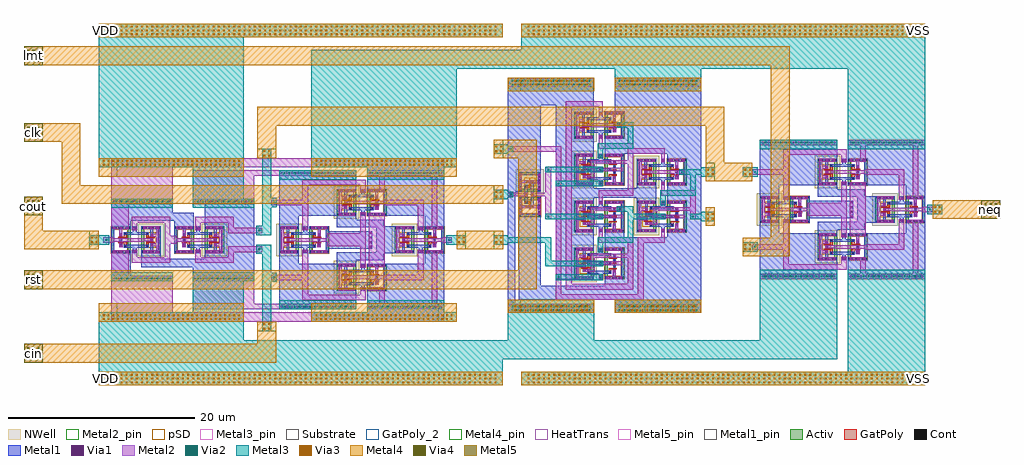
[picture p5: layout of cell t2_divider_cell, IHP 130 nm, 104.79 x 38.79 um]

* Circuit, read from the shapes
.subckt t2_divider_cell VDD VSS cin clk cout lmt neq rst
XM1 n1 t2_ha_2/t2_and2_0/t2_nand2_1/inA cout VSS sg13_lv_nmos w=0.15u l=0.13u
XM2 VSS t2_ha_2/t2_and2_0/t2_nand2_1/inA n1 VSS sg13_lv_nmos w=0.15u l=0.13u
XM3 n2 cin t2_ha_2/t2_and2_0/t2_nand2_1/inA VSS sg13_lv_nmos w=0.15u l=0.13u
XM4 VSS t2_dff_1/Q n2 VSS sg13_lv_nmos w=0.15u l=0.13u
XM5 n3 cin t2_ha_2/t2_xor2_1/t2_nand2_0/inA VSS sg13_lv_nmos w=0.15u l=0.13u
XM6 VSS t2_dff_1/Q n3 VSS sg13_lv_nmos w=0.15u l=0.13u
XM7 n4 cin t2_ha_2/t2_xor2_1/t2_nand2_2/inB VSS sg13_lv_nmos w=0.15u l=0.13u
XM8 VSS t2_ha_2/t2_xor2_1/t2_nand2_0/inA n4 VSS sg13_lv_nmos w=0.15u l=0.13u
XM9 n5 t2_ha_2/t2_xor2_1/t2_nand2_0/inA t2_ha_2/t2_xor2_1/t2_nand2_2/inA VSS sg13_lv_nmos w=0.15u l=0.13u
XM10 VSS t2_dff_1/Q n5 VSS sg13_lv_nmos w=0.15u l=0.13u
XM11 n6 t2_ha_2/t2_xor2_1/t2_nand2_2/inB t2_dff_1/D VSS sg13_lv_nmos w=0.15u l=0.13u
XM12 VSS t2_ha_2/t2_xor2_1/t2_nand2_2/inA n6 VSS sg13_lv_nmos w=0.15u l=0.13u
XM13 t2_dff_1/t2_inverter_6/Y clk VSS VSS sg13_lv_nmos w=0.15u l=0.13u
XM14 n7 rst VSS VSS sg13_lv_nmos w=0.15u l=0.13u
XM15 n8 t2_dff_1/D n7 VSS sg13_lv_nmos w=0.15u l=0.13u
XM16 t2_dff_1/t2_nand2_0/inA t2_dff_1/t2_nand3_2/inA n8 VSS sg13_lv_nmos w=0.15u l=0.13u
XM17 n9 t2_dff_1/t2_nand2_0/inA VSS VSS sg13_lv_nmos w=0.15u l=0.13u
XM18 n10 t2_dff_1/t2_inverter_6/Y n9 VSS sg13_lv_nmos w=0.15u l=0.13u
XM19 t2_dff_1/t2_nand3_2/inA t2_dff_1/t2_nand2_4/inA n10 VSS sg13_lv_nmos w=0.15u l=0.13u
XM20 n11 rst VSS VSS sg13_lv_nmos w=0.15u l=0.13u
XM21 n12 t2_dff_1/t2_inverter_6/Y n11 VSS sg13_lv_nmos w=0.15u l=0.13u
XM22 t2_dff_1/t2_nand2_4/inA t2_dff_1/t2_nand3_5/inA n12 VSS sg13_lv_nmos w=0.15u l=0.13u
XM23 n13 t2_dff_1/t2_nand2_4/inA t2_dff_1/t2_nand3_5/inA VSS sg13_lv_nmos w=0.15u l=0.13u
XM24 VSS t2_dff_1/t2_nand2_0/inA n13 VSS sg13_lv_nmos w=0.15u l=0.13u
XM25 n14 rst VSS VSS sg13_lv_nmos w=0.15u l=0.13u
XM26 n15 t2_dff_1/t2_nand3_2/inA n14 VSS sg13_lv_nmos w=0.15u l=0.13u
XM27 t2_dff_1/QN t2_dff_1/Q n15 VSS sg13_lv_nmos w=0.15u l=0.13u
XM28 n16 t2_dff_1/QN t2_dff_1/Q VSS sg13_lv_nmos w=0.15u l=0.13u
XM29 VSS t2_dff_1/t2_nand2_4/inA n16 VSS sg13_lv_nmos w=0.15u l=0.13u
XM30 n17 lmt t2_xor2_0/t2_nand2_0/inA VSS sg13_lv_nmos w=0.15u l=0.13u
XM31 VSS t2_dff_1/Q n17 VSS sg13_lv_nmos w=0.15u l=0.13u
XM32 n18 lmt t2_xor2_0/t2_nand2_2/inB VSS sg13_lv_nmos w=0.15u l=0.13u
XM33 VSS t2_xor2_0/t2_nand2_0/inA n18 VSS sg13_lv_nmos w=0.15u l=0.13u
XM34 n19 t2_xor2_0/t2_nand2_0/inA t2_xor2_0/t2_nand2_2/inA VSS sg13_lv_nmos w=0.15u l=0.13u
XM35 VSS t2_dff_1/Q n19 VSS sg13_lv_nmos w=0.15u l=0.13u
XM36 n20 t2_xor2_0/t2_nand2_2/inB neq VSS sg13_lv_nmos w=0.15u l=0.13u
XM37 VSS t2_xor2_0/t2_nand2_2/inA n20 VSS sg13_lv_nmos w=0.15u l=0.13u
XM38 cout t2_ha_2/t2_and2_0/t2_nand2_1/inA VDD VDD sg13_lv_pmos w=0.3u l=0.13u m=2
XM39 t2_ha_2/t2_and2_0/t2_nand2_1/inA cin VDD VDD sg13_lv_pmos w=0.3u l=0.13u
XM40 VDD t2_dff_1/Q t2_ha_2/t2_and2_0/t2_nand2_1/inA VDD sg13_lv_pmos w=0.3u l=0.13u
XM41 t2_ha_2/t2_xor2_1/t2_nand2_0/inA cin VDD VDD sg13_lv_pmos w=0.3u l=0.13u
XM42 VDD t2_dff_1/Q t2_ha_2/t2_xor2_1/t2_nand2_0/inA VDD sg13_lv_pmos w=0.3u l=0.13u
XM43 t2_ha_2/t2_xor2_1/t2_nand2_2/inB cin VDD VDD sg13_lv_pmos w=0.3u l=0.13u
XM44 VDD t2_ha_2/t2_xor2_1/t2_nand2_0/inA t2_ha_2/t2_xor2_1/t2_nand2_2/inB VDD sg13_lv_pmos w=0.3u l=0.13u
XM45 t2_ha_2/t2_xor2_1/t2_nand2_2/inA t2_ha_2/t2_xor2_1/t2_nand2_0/inA VDD VDD sg13_lv_pmos w=0.3u l=0.13u
XM46 VDD t2_dff_1/Q t2_ha_2/t2_xor2_1/t2_nand2_2/inA VDD sg13_lv_pmos w=0.3u l=0.13u
XM47 t2_dff_1/D t2_ha_2/t2_xor2_1/t2_nand2_2/inB VDD VDD sg13_lv_pmos w=0.3u l=0.13u
XM48 VDD t2_ha_2/t2_xor2_1/t2_nand2_2/inA t2_dff_1/D VDD sg13_lv_pmos w=0.3u l=0.13u
XM49 t2_dff_1/t2_inverter_6/Y clk VDD VDD sg13_lv_pmos w=0.3u l=0.13u
XM50 t2_dff_1/t2_nand3_5/inA t2_dff_1/t2_nand2_4/inA VDD VDD sg13_lv_pmos w=0.3u l=0.13u
XM51 VDD t2_dff_1/t2_nand2_0/inA t2_dff_1/t2_nand3_5/inA VDD sg13_lv_pmos w=0.3u l=0.13u
XM52 VDD rst t2_dff_1/t2_nand2_0/inA VDD sg13_lv_pmos w=0.3u l=0.13u
XM53 t2_dff_1/t2_nand2_0/inA t2_dff_1/D VDD VDD sg13_lv_pmos w=0.3u l=0.13u
XM54 VDD t2_dff_1/t2_nand3_2/inA t2_dff_1/t2_nand2_0/inA VDD sg13_lv_pmos w=0.3u l=0.13u
XM55 VDD t2_dff_1/t2_nand2_0/inA t2_dff_1/t2_nand3_2/inA VDD sg13_lv_pmos w=0.3u l=0.13u
XM56 t2_dff_1/t2_nand3_2/inA t2_dff_1/t2_inverter_6/Y VDD VDD sg13_lv_pmos w=0.3u l=0.13u
XM57 VDD t2_dff_1/t2_nand2_4/inA t2_dff_1/t2_nand3_2/inA VDD sg13_lv_pmos w=0.3u l=0.13u
XM58 VDD rst t2_dff_1/t2_nand2_4/inA VDD sg13_lv_pmos w=0.3u l=0.13u
XM59 t2_dff_1/t2_nand2_4/inA t2_dff_1/t2_inverter_6/Y VDD VDD sg13_lv_pmos w=0.3u l=0.13u
XM60 VDD t2_dff_1/t2_nand3_5/inA t2_dff_1/t2_nand2_4/inA VDD sg13_lv_pmos w=0.3u l=0.13u
XM61 t2_dff_1/Q t2_dff_1/QN VDD VDD sg13_lv_pmos w=0.3u l=0.13u
XM62 VDD t2_dff_1/t2_nand2_4/inA t2_dff_1/Q VDD sg13_lv_pmos w=0.3u l=0.13u
XM63 VDD rst t2_dff_1/QN VDD sg13_lv_pmos w=0.3u l=0.13u
XM64 t2_dff_1/QN t2_dff_1/t2_nand3_2/inA VDD VDD sg13_lv_pmos w=0.3u l=0.13u
XM65 VDD t2_dff_1/Q t2_dff_1/QN VDD sg13_lv_pmos w=0.3u l=0.13u
XM66 t2_xor2_0/t2_nand2_0/inA lmt VDD VDD sg13_lv_pmos w=0.3u l=0.13u
XM67 VDD t2_dff_1/Q t2_xor2_0/t2_nand2_0/inA VDD sg13_lv_pmos w=0.3u l=0.13u
XM68 t2_xor2_0/t2_nand2_2/inB lmt VDD VDD sg13_lv_pmos w=0.3u l=0.13u
XM69 VDD t2_xor2_0/t2_nand2_0/inA t2_xor2_0/t2_nand2_2/inB VDD sg13_lv_pmos w=0.3u l=0.13u
XM70 t2_xor2_0/t2_nand2_2/inA t2_xor2_0/t2_nand2_0/inA VDD VDD sg13_lv_pmos w=0.3u l=0.13u
XM71 VDD t2_dff_1/Q t2_xor2_0/t2_nand2_2/inA VDD sg13_lv_pmos w=0.3u l=0.13u
XM72 neq t2_xor2_0/t2_nand2_2/inB VDD VDD sg13_lv_pmos w=0.3u l=0.13u
XM73 VDD t2_xor2_0/t2_nand2_2/inA neq VDD sg13_lv_pmos w=0.3u l=0.13u
.ends

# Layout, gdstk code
from math import pi, radians
import gdstk
lib = gdstk.Library(unit=1e-6, precision=1e-09)
def R(c, l, rs):  # rectangles x0, y0, x1, y1
    for r in rs: c.add(gdstk.rectangle(r[:2], r[2:], *l))
def A(c, l, x, y, w, h, nx, ny, dx, dy):  # array of equal rectangles
    R(c, l, [(x+i*dx, y+j*dy, x+i*dx+w, y+j*dy+h) for i in range(nx) for j in range(ny)])
Activ = (1, 0)
GatPoly = (5, 0)
GatPoly_2 = (5, 2)
Cont = (6, 0)
Metal1 = (8, 0)
Metal1_pin = (8, 2)
Metal2 = (10, 0)
Metal2_pin = (10, 2)
pSD = (14, 0)
Via1 = (19, 0)
Via2 = (29, 0)
Metal3 = (30, 0)
Metal3_pin = (30, 2)
NWell = (31, 0)
Substrate = (40, 0)
Via3 = (49, 0)
Metal4 = (50, 0)
Metal4_pin = (50, 2)
HeatTrans = (51, 0)
Via4 = (66, 0)
Metal5 = (67, 0)
Metal5_pin = (67, 2)

pmos_4 = lib.new_cell('pmos$4')
R(pmos_4, Activ, [(0,0,0.3,0.3), (0,0,0.81,0.3), (0.51,0,0.81,0.3)])
R(pmos_4, GatPoly, [(0.34,-0.18,0.47,0.48), (0.34,-0.18,0.47,0.48)])
R(pmos_4, Cont, [(0.07,0.07,0.23,0.23), (0.58,0.07,0.74,0.23)])
R(pmos_4, Metal1, [(0.07,0,0.23,0.3), (0.07,0,0.23,0.3), (0.58,0,0.74,0.3), (0.58,0,0.74,0.3)])
R(pmos_4, pSD, [(-0.18,-0.3,0.99,0.6)])
R(pmos_4, NWell, [(-0.31,-0.31,1.12,0.61)])
R(pmos_4, Substrate, [(0.51,0,0.81,0.3)])
R(pmos_4, HeatTrans, [(0.34,-0.18,0.47,0.48)])
pmos_4.add(gdstk.Label('pmos', (0.405,0.15), layer=63, texttype=0))
pmos_4.add(gdstk.Label('pmos', (0.405,0.15), layer=51, texttype=0))

nmos_4 = lib.new_cell('nmos$4')
R(nmos_4, Activ, [(0,0,0.3,0.3), (0.57,0,0.87,0.3), (0,0.075,0.87,0.225)])
R(nmos_4, GatPoly, [(0.37,-0.105,0.5,0.405)])
R(nmos_4, GatPoly_2, [(0.37,-0.105,0.5,0.405)])
R(nmos_4, Cont, [(0.07,0.07,0.23,0.23), (0.64,0.07,0.8,0.23)])
R(nmos_4, Metal1, [(0.07,0.02,0.23,0.28), (0.64,0.02,0.8,0.28)])
R(nmos_4, Metal1_pin, [(0.07,0.02,0.23,0.28), (0.64,0.02,0.8,0.28)])
R(nmos_4, HeatTrans, [(0.37,-0.105,0.5,0.405)])
nmos_4.add(gdstk.Label('nmos', (0.435,0.15), layer=63, texttype=0))
nmos_4.add(gdstk.Label('nmos', (0.435,0.15), layer=51, texttype=0))

t2_nand2 = lib.new_cell('t2_nand2')
R(t2_nand2, Activ, [(-6.22,-2.335,-3.66,-2.015), (-3.66,-2.335,-3.34,-0.555), (-6.22,-2.015,-5.9,-0.235), (-5.9,-0.555,-3.34,-0.235), (-6.22,0.915,-3.66,1.235), (-3.66,0.915,-3.34,2.695), (-6.22,1.235,-5.9,3.015), (-5.9,2.695,-3.34,3.015)])
R(t2_nand2, GatPoly, [(-5.13,-1.03,-5,-0.955), (-4.56,-1.03,-4.43,-0.955), (-5.62,-0.955,-5,-0.655), (-4.56,-0.955,-3.94,-0.655), (-5.62,1.415,-4.97,1.715), (-4.59,1.415,-3.94,1.715)])
A(t2_nand2, Cont, -3.58, -2.255, 0.16, 0.16, 1, 5, 0, 0.355)
A(t2_nand2, Cont, -6.14, -1.895, 0.16, 0.16, 1, 5, 0, 0.355)
A(t2_nand2, Cont, -6.14, 1.355, 0.16, 0.16, 1, 5, 0, 0.355)
A(t2_nand2, Cont, -3.58, 1.355, 0.16, 0.16, 1, 5, 0, 0.355)
R(t2_nand2, Cont, [(-6.14,-2.255,-5.98,-2.095), (-5.55,-0.885,-5.39,-0.725), (-4.17,-0.885,-4.01,-0.725), (-3.58,-0.475,-3.42,-0.315), (-6.14,0.995,-5.98,1.155), (-3.58,0.995,-3.42,1.155), (-5.55,1.485,-5.39,1.645), (-4.17,1.485,-4.01,1.645)])
R(t2_nand2, Metal1, [(-6.22,-2.335,-5.9,-0.235), (-5.9,-2.335,-3.66,-2.015), (-3.66,-2.335,-3.34,-0.235), (-5.9,-1.435,-5.205,-1.135), (-4.93,-1.435,-4.63,-1.135), (-4.36,-1.435,-4.06,-1.135), (-5.62,-0.955,-5.32,1.715), (-4.24,-0.955,-3.94,1.715), (-6.22,-0.005,-5.62,0.395), (-3.94,-0.005,-3.34,0.395), (-6.22,0.915,-5.9,3.015), (-3.66,0.915,-3.34,3.015), (-5.9,1.895,-5.145,2.195), (-4.93,1.895,-4.63,2.195), (-4.415,1.895,-3.66,2.195), (-5.9,2.695,-3.66,3.015)])
R(t2_nand2, Metal2, [(-6.22,-2.14,-5.9,-0.425), (-4.98,-2.14,-4.58,1.105), (-3.66,-2.14,-3.34,-0.425), (-4.58,-1.485,-4.01,-1.085), (-5.9,-1.445,-5.19,-1.125), (-6.22,-0.005,-5.82,0.395), (-3.74,-0.005,-3.34,0.395), (-6.22,1.105,-5.9,2.82), (-4.93,1.105,-4.63,2.19), (-3.66,1.105,-3.34,2.82), (-5.44,1.9,-5.14,2.5), (-4.42,1.9,-4.12,2.5), (-5.9,2.5,-3.66,2.82)])
R(t2_nand2, Metal2_pin, [(-5.455,-1.39,-5.245,-1.18), (-4.315,-1.39,-4.105,-1.18), (-6.125,0.09,-5.915,0.3), (-3.645,0.09,-3.435,0.3), (-5.395,1.94,-5.185,2.15), (-4.375,1.94,-4.165,2.15)])
R(t2_nand2, pSD, [(-6.25,-2.365,-3.69,-1.985), (-3.69,-2.365,-3.31,-0.585), (-6.25,-1.985,-5.87,-0.205), (-5.87,-0.585,-3.31,-0.205)])
A(t2_nand2, Via1, -5.385, 1.95, 0.19, 0.19, 3, 1, 0.51, 0)
R(t2_nand2, Via1, [(-6.155,-2.09,-5.965,-1.9), (-3.595,-2.09,-3.405,-1.9), (-5.445,-1.38,-5.255,-1.19), (-4.305,-1.38,-4.115,-1.19), (-3.595,-1.38,-3.405,-1.19), (-6.155,-1.375,-5.965,-1.185), (-6.155,-0.665,-5.965,-0.475), (-3.595,-0.665,-3.405,-0.475), (-6.115,0.1,-5.925,0.29), (-3.635,0.1,-3.445,0.29), (-6.155,1.155,-5.965,1.345), (-3.595,1.155,-3.405,1.345), (-6.155,1.87,-5.965,2.06), (-3.595,1.87,-3.405,2.06), (-6.155,2.58,-5.965,2.77), (-3.595,2.58,-3.405,2.77)])
R(t2_nand2, NWell, [(-6.54,0.595,-3.02,3.335)])
t2_nand2.add(gdstk.Reference(pmos_4, (-5.44,1.895)))
t2_nand2.add(gdstk.Reference(pmos_4, (-4.93,1.895)))
t2_nand2.add(gdstk.Reference(nmos_4, (-5.5,-1.435)))
t2_nand2.add(gdstk.Reference(nmos_4, (-4.93,-1.435)))
t2_nand2.add(gdstk.Label('VDD', (-5.29,2.045), layer=10, texttype=2))
t2_nand2.add(gdstk.Label('VDD', (-4.27,2.045), layer=10, texttype=2))
t2_nand2.add(gdstk.Label('VSS', (-5.35,-1.285), layer=10, texttype=2))
t2_nand2.add(gdstk.Label('out', (-4.21,-1.285), layer=10, texttype=2))
t2_nand2.add(gdstk.Label('inA', (-6.02,0.195), layer=10, texttype=2))
t2_nand2.add(gdstk.Label('inB', (-3.54,0.195), layer=10, texttype=2))

t2_xor2 = lib.new_cell('t2_xor2')
R(t2_xor2, Metal1, [(-5.77,-9.32,2.53,-7.31), (3.68,-9.32,11.98,-7.31), (-5.77,-7.31,-3.67,-3.29), (-3.67,-7.31,0.43,-4.43), (5.78,-7.31,9.88,-4.43), (9.88,-7.31,11.98,-3.29), (0.43,-4.43,2.53,-3.19), (2.53,-4.025,4.66,-3.19), (4.66,-4.025,5.495,0.33), (5.495,-3.29,6.63,-0.41), (-0.42,-2.8,4.26,-0.9), (0.43,-0.505,2.53,0.73), (2.53,-0.505,4.66,0.33), (-5.77,-0.41,-3.67,3.61), (9.88,-0.41,11.98,3.61), (-3.67,0.73,0.43,3.61), (5.78,0.73,9.88,3.61), (-5.77,3.61,2.53,5.62), (3.68,3.61,11.98,5.62)])
R(t2_xor2, Metal2, [(-5.77,-9.32,2.53,-8.73), (3.68,-9.32,11.98,-8.73), (4.985,-8.73,5.585,-7.31), (10.63,-8.73,11.23,-3.29), (-3.25,-8.33,-2.65,-2.89), (-2.65,-8.33,2.95,-7.73), (2.95,-8.33,3.55,-6.91), (-6.59,-6.17,-3.25,-5.57), (5.585,-6.17,9.15,-5.57), (9.15,-6.17,9.75,-2.89), (2.95,-4.83,3.55,1.13), (3.87,-4.43,5.585,0.73), (-0.615,-2.55,2.95,-1.15), (11.785,-2.15,12.8,-1.55), (-3.25,-0.81,-2.65,4.63), (9.15,-0.81,9.75,2.47), (10.63,-0.41,11.23,5.03), (-6.59,1.87,-3.25,2.47), (5.585,1.87,9.15,2.47), (2.95,3.21,3.55,4.63), (4.985,3.61,5.585,5.03), (-2.65,4.03,2.95,4.63), (-5.77,5.03,2.53,5.62), (3.68,5.03,11.98,5.62)])
A(t2_xor2, Via1, -5.57, -9.12, 0.19, 0.19, 15, 1, 0.55, 0)
A(t2_xor2, Via1, 3.88, -9.12, 0.19, 0.19, 15, 1, 0.55, 0)
A(t2_xor2, Via1, 3.97, -2.695, 0.19, 0.19, 1, 4, 0, 0.5)
A(t2_xor2, Via1, -5.56, 5.23, 0.19, 0.19, 15, 1, 0.55, 0)
A(t2_xor2, Via1, 3.89, 5.23, 0.19, 0.19, 15, 1, 0.55, 0)
A(t2_xor2, Via2, -5.295, -9.12, 0.19, 0.19, 14, 1, 0.55, 0)
A(t2_xor2, Via2, 4.155, -9.12, 0.19, 0.19, 14, 1, 0.55, 0)
A(t2_xor2, Via2, -5.285, 5.23, 0.19, 0.19, 14, 1, 0.55, 0)
A(t2_xor2, Via2, 4.165, 5.23, 0.19, 0.19, 14, 1, 0.55, 0)
R(t2_xor2, Via2, [(-6.385,-5.965,-6.195,-5.775), (12.405,-1.945,12.595,-1.755), (-6.385,2.075,-6.195,2.265)])
R(t2_xor2, Metal3, [(-5.77,-9.32,2.53,-8.33), (3.68,-9.32,11.98,-8.33), (-6.59,-6.37,-5.99,-5.37), (12.2,-2.35,12.8,-1.35), (-6.59,1.67,-5.99,2.67), (-5.77,4.63,2.53,5.62), (3.68,4.63,11.98,5.62)])
R(t2_xor2, Metal3_pin, [(-5.77,-9.32,-4.77,-8.33), (10.98,-9.32,11.98,-8.33), (-6.59,-6.17,-5.99,-5.57), (12.2,-2.15,12.8,-1.55), (-6.59,1.87,-5.99,2.47), (-5.77,4.63,-4.77,5.62), (10.98,4.63,11.98,5.62)])
t2_xor2.add(gdstk.Reference(t2_nand2, (3.445,-10.65), rotation=3*pi/2, x_reflection=True))
t2_xor2.add(gdstk.Reference(t2_nand2, (3.445,-2.61), rotation=3*pi/2, x_reflection=True))
t2_xor2.add(gdstk.Reference(t2_nand2, (9.645,-6.63), rotation=3*pi/2, x_reflection=True))
t2_xor2.add(gdstk.Reference(t2_nand2, (-2.755,-6.63), rotation=3*pi/2, x_reflection=True))
t2_xor2.add(gdstk.Label('inB', (-6.29,-5.87), layer=30, texttype=2))
t2_xor2.add(gdstk.Label('out', (12.5,-1.85), layer=30, texttype=2))
t2_xor2.add(gdstk.Label('inA', (-6.29,2.17), layer=30, texttype=2))
t2_xor2.add(gdstk.Label('VDD', (-5.27,5.125), layer=30, texttype=2))
t2_xor2.add(gdstk.Label('VSS', (11.48,5.125), layer=30, texttype=2))
t2_xor2.add(gdstk.Label('VDD', (-5.27,-8.825), layer=30, texttype=2))
t2_xor2.add(gdstk.Label('VSS', (11.48,-8.825), layer=30, texttype=2))

t2_nand3 = lib.new_cell('t2_nand3')
R(t2_nand3, Activ, [(-6.73,-2.335,-6.41,-0.555), (-6.41,-2.335,-3.34,-2.015), (-3.66,-2.015,-3.34,-0.235), (-6.73,-0.555,-3.66,-0.235), (-6.73,0.915,-3.66,1.235), (-3.66,0.915,-3.34,2.695), (-6.73,1.235,-6.41,3.015), (-6.41,2.695,-3.34,3.015)])
A(t2_nand3, GatPoly, -5.67, -1.03, 0.13, 0.075, 3, 1, 0.57, 0)
R(t2_nand3, GatPoly, [(-6.13,-0.955,-5.54,-0.655), (-5.185,-0.955,-4.885,-0.655), (-4.53,-0.955,-3.94,-0.655), (-6.13,1.335,-5.48,1.635), (-5.185,1.335,-4.885,1.635), (-4.59,1.335,-3.94,1.635)])
A(t2_nand3, Cont, -6.65, -1.895, 0.16, 0.16, 1, 5, 0, 0.355)
A(t2_nand3, Cont, -3.58, -1.895, 0.16, 0.16, 1, 5, 0, 0.355)
A(t2_nand3, Cont, -6.06, -0.885, 0.16, 0.16, 3, 2, 0.945, 2.29)
A(t2_nand3, Cont, -6.65, 1.355, 0.16, 0.16, 1, 5, 0, 0.355)
A(t2_nand3, Cont, -3.58, 1.355, 0.16, 0.16, 1, 5, 0, 0.355)
R(t2_nand3, Cont, [(-6.65,-2.255,-6.49,-2.095), (-3.58,-2.255,-3.42,-2.095), (-6.65,0.995,-6.49,1.155), (-3.58,0.995,-3.42,1.155)])
A(t2_nand3, Metal1, -6.04, -1.435, 0.3, 0.3, 3, 1, 0.57, 0)
A(t2_nand3, Metal1, -6.13, -0.955, 0.3, 2.59, 3, 1, 0.945, 0)
R(t2_nand3, Metal1, [(-6.73,-2.335,-6.41,-0.235), (-6.41,-2.335,-3.66,-2.015), (-3.66,-2.335,-3.34,-0.235), (-4.325,-1.43,-3.66,-1.14), (-6.73,-0.005,-6.13,0.395), (-3.94,-0.005,-3.34,0.395), (-6.73,0.915,-6.41,3.015), (-3.66,0.915,-3.34,3.015), (-6.41,1.815,-5.655,2.115), (-5.44,1.815,-5.14,2.115), (-4.925,1.815,-4.635,2.695), (-4.42,1.815,-4.12,2.115), (-6.41,2.695,-3.66,3.015)])
R(t2_nand3, Metal2, [(-6.73,-2.14,-6.41,-0.425), (-6.05,-2.14,-5.65,0.82), (-5.235,-2.14,-4.835,0.395), (-3.66,-2.14,-3.34,-0.425), (-4.325,-1.445,-3.66,-1.125), (-6.73,-0.005,-6.33,0.395), (-3.74,-0.005,-3.34,0.395), (-6.05,0.82,-4.125,1.25), (-6.73,1.105,-6.41,2.82), (-3.66,1.105,-3.34,2.82), (-5.435,1.25,-5.145,2.11), (-4.415,1.25,-4.125,2.11), (-5.945,1.82,-5.655,2.53), (-4.925,1.82,-4.635,2.53), (-6.41,2.53,-3.66,2.82)])
A(t2_nand3, Metal2_pin, -6.635, 0.09, 0.21, 0.21, 3, 1, 1.495, 0)
R(t2_nand3, Metal2_pin, [(-5.995,-1.39,-5.785,-1.18), (-4.285,-1.39,-4.075,-1.18), (-5.905,1.86,-5.695,2.07), (-4.885,1.86,-4.675,2.07)])
R(t2_nand3, pSD, [(-6.76,-2.365,-6.38,-0.585), (-6.38,-2.365,-3.31,-1.985), (-3.69,-1.985,-3.31,-0.205), (-6.76,-0.585,-3.69,-0.205)])
A(t2_nand3, Via1, -6.625, 0.1, 0.19, 0.19, 3, 1, 1.495, 0)
A(t2_nand3, Via1, -5.895, 1.87, 0.19, 0.19, 4, 1, 0.51, 0)
R(t2_nand3, Via1, [(-6.665,-2.09,-6.475,-1.9), (-3.595,-2.09,-3.405,-1.9), (-5.985,-1.38,-5.795,-1.19), (-4.275,-1.38,-4.085,-1.19), (-6.665,-1.375,-6.475,-1.185), (-3.595,-1.375,-3.405,-1.185), (-6.665,-0.665,-6.475,-0.475), (-3.595,-0.665,-3.405,-0.475), (-6.665,1.155,-6.475,1.345), (-3.595,1.155,-3.405,1.345), (-6.665,1.87,-6.475,2.06), (-3.595,1.87,-3.405,2.06), (-6.665,2.58,-6.475,2.77), (-3.595,2.58,-3.405,2.77)])
R(t2_nand3, NWell, [(-7.05,0.595,-3.02,3.335)])
t2_nand3.add(gdstk.Reference(pmos_4, (-5.95,1.815)))
t2_nand3.add(gdstk.Reference(pmos_4, (-5.44,1.815)))
t2_nand3.add(gdstk.Reference(pmos_4, (-4.93,1.815)))
t2_nand3.add(gdstk.Reference(nmos_4, (-4.9,-1.435)))
t2_nand3.add(gdstk.Reference(nmos_4, (-6.04,-1.435)))
t2_nand3.add(gdstk.Reference(nmos_4, (-5.47,-1.435)))
t2_nand3.add(gdstk.Label('VDD', (-5.8,1.965), layer=10, texttype=2))
t2_nand3.add(gdstk.Label('VDD', (-4.78,1.965), layer=10, texttype=2))
t2_nand3.add(gdstk.Label('inA', (-6.53,0.195), layer=10, texttype=2))
t2_nand3.add(gdstk.Label('out', (-5.89,-1.285), layer=10, texttype=2))
t2_nand3.add(gdstk.Label('VSS', (-4.18,-1.285), layer=10, texttype=2))
t2_nand3.add(gdstk.Label('inB', (-5.035,0.195), layer=10, texttype=2))
t2_nand3.add(gdstk.Label('inC', (-3.54,0.195), layer=10, texttype=2))

t2_inverter = lib.new_cell('t2_inverter')
R(t2_inverter, Activ, [(-1.425,-3.22,0.625,-2.9), (0.625,-3.22,0.945,-1.44), (-1.425,-2.9,-1.105,-1.12), (-1.105,-1.44,0.945,-1.12), (-1.425,-0.52,0.625,-0.2), (0.625,-0.52,0.945,1.26), (-1.425,-0.2,-1.105,1.58), (-1.105,1.26,0.945,1.58)])
R(t2_inverter, GatPoly, [(-0.305,-1.915,-0.175,-1.84), (-0.825,-1.84,-0.175,-1.54), (-0.825,-0.1,-0.175,0.2)])
A(t2_inverter, Cont, -1.345, -2.78, 0.16, 0.16, 1, 5, 0, 0.355)
A(t2_inverter, Cont, 0.705, -2.78, 0.16, 0.16, 1, 5, 0, 0.355)
A(t2_inverter, Cont, -1.345, -0.08, 0.16, 0.16, 1, 5, 0, 0.355)
A(t2_inverter, Cont, 0.705, -0.08, 0.16, 0.16, 1, 5, 0, 0.355)
R(t2_inverter, Cont, [(-1.345,-3.14,-1.185,-2.98), (0.705,-3.14,0.865,-2.98), (-0.755,-1.77,-0.595,-1.61), (-1.345,-0.44,-1.185,-0.28), (0.705,-0.44,0.865,-0.28), (-0.755,-0.03,-0.595,0.13)])
R(t2_inverter, Metal1, [(-1.425,-3.22,-1.105,-1.12), (-1.105,-3.22,0.625,-2.9), (0.625,-3.22,0.945,-1.12), (-1.105,-2.32,-0.38,-2.02), (-0.155,-2.32,0.205,0.68), (-0.835,-1.84,-0.475,0.2), (-1.425,-0.52,-1.105,1.58), (0.625,-0.52,0.945,1.58), (-1.105,0.38,-0.35,0.68), (-1.105,1.26,0.625,1.58)])
R(t2_inverter, Metal2, [(-1.425,-3.025,-1.105,-1.31), (0.625,-3.025,0.945,-1.31), (-1.105,-2.33,0.625,-2.01), (-1.425,-1.02,-0.475,-0.62), (-0.155,-1.02,0.945,-0.62), (-1.425,-0.33,-1.105,1.385), (0.625,-0.33,0.945,1.385), (-1.105,0.37,0.625,0.69)])
R(t2_inverter, Metal2_pin, [(-0.63,-2.275,-0.42,-2.065), (-0.76,-0.925,-0.55,-0.715), (-0.08,-0.925,0.13,-0.715), (-0.6,0.425,-0.39,0.635)])
R(t2_inverter, pSD, [(-1.455,-3.25,0.595,-2.87), (0.595,-3.25,0.975,-1.47), (-1.455,-2.87,-1.075,-1.09), (-1.075,-1.47,0.975,-1.09)])
R(t2_inverter, Via1, [(-1.36,-2.975,-1.17,-2.785), (0.69,-2.975,0.88,-2.785), (-0.62,-2.265,-0.43,-2.075), (-1.36,-2.26,-1.17,-2.07), (0.69,-2.26,0.88,-2.07), (-1.36,-1.55,-1.17,-1.36), (0.69,-1.55,0.88,-1.36), (-0.75,-0.915,-0.56,-0.725), (-0.07,-0.915,0.12,-0.725), (-1.36,-0.28,-1.17,-0.09), (0.69,-0.28,0.88,-0.09), (-1.36,0.435,-1.17,0.625), (-0.59,0.435,-0.4,0.625), (0.69,0.435,0.88,0.625), (-1.36,1.145,-1.17,1.335), (0.69,1.145,0.88,1.335)])
R(t2_inverter, NWell, [(-1.745,-0.84,1.265,1.9)])
t2_inverter.add(gdstk.Reference(nmos_4, (-0.675,-2.32)))
t2_inverter.add(gdstk.Reference(pmos_4, (-0.645,0.38)))
t2_inverter.add(gdstk.Label('Y', (0.025,-0.82), layer=10, texttype=2))
t2_inverter.add(gdstk.Label('A', (-0.655,-0.82), layer=10, texttype=2))
t2_inverter.add(gdstk.Label('VN', (-0.525,-2.17), layer=10, texttype=2))
t2_inverter.add(gdstk.Label('VP', (-0.495,0.53), layer=10, texttype=2))

t2_dff = lib.new_cell('t2_dff')
A(t2_dff, Metal1, -3.315, -12.21, 2.1, 1.64, 1, 3, 0, 5.03)
R(t2_dff, Metal1, [(-10.46,-19.23,-9.69,-4.105), (-9.69,-19.23,-1.19,-18.22), (1.01,-19.23,10.28,-15.6), (-9.29,-17.82,-0.065,-16.3), (-0.065,-17.82,2.035,-15.6), (-9.29,-16.3,-6.92,-8.905), (-5.315,-15.6,-3.315,3.07), (2.035,-15.6,6.635,-11.08), (6.635,-15.6,8.735,-10.57), (8.735,-15.6,10.28,2.37), (-0.065,-12.21,2.035,-10.57), (3.385,-7.18,5.485,-5.54), (6.635,-7.18,8.735,-5.54), (-1.215,-6.86,3.385,-5.86), (-9.69,-6.205,-9.29,-4.105), (-10.46,-4.105,-9.29,3.07), (-9.29,-4.105,-6.92,3.07), (6.635,-2.66,8.735,2.37), (-0.065,-2.15,2.035,-0.51), (2.035,-2.15,6.635,2.37), (-3.315,2.37,-1.215,3.07), (1.01,2.37,10.28,6), (-10.46,3.07,-1.215,6)])
A(t2_dff, Metal2, -0.695, -11.69, 3.705, 0.6, 1, 3, 0, 5.03)
R(t2_dff, Metal2, [(-10.46,-19.23,-1.19,-18.22), (1.01,-19.23,10.28,-18.22), (-5.32,-17.82,3.51,-17.22), (3.51,-17.82,4.11,-11.69), (-5.32,-17.22,-4.72,-1.92), (-4.22,-16.72,3.01,-16.12), (-4.22,-16.12,-3.62,2.89), (2.41,-16.12,3.01,-11.69), (1.84,-13.29,2.41,-12.89), (3.51,-11.69,6.405,-11.09), (-0.695,-11.09,-0.295,-10.57), (6.005,-11.09,6.405,-10.57), (-6.42,-9.175,-5.82,-3.545), (9.11,-9.175,9.71,-6.66), (8.54,-8.26,9.11,-7.86), (-0.695,-7.18,-0.295,-6.66), (-10.46,-6.705,-9.29,-6.305), (-6.92,-6.705,-6.42,-6.305), (6.005,-6.66,9.71,-6.06), (2.41,-6.06,3.01,-1.63), (6.005,-6.06,6.405,-5.54), (1.84,-3.23,2.41,-2.83), (6.005,-2.66,6.405,-2.14), (3.01,-2.14,6.405,-1.54), (-10.46,-1.92,-4.72,-1.32), (-0.695,-1.03,-0.295,-0.51), (-0.695,2.37,-0.295,2.89), (-4.22,2.89,-0.295,3.49), (-10.46,4.99,-1.19,6), (1.01,4.99,10.28,6)])
A(t2_dff, Via1, -9.77, -19.03, 0.19, 0.19, 15, 2, 0.55, 0.42)
A(t2_dff, Via1, 1.7, -19.03, 0.19, 0.19, 15, 2, 0.55, 0.42)
A(t2_dff, Via1, -9.77, 5.19, 0.19, 0.19, 15, 2, 0.55, 0.42)
A(t2_dff, Via1, 1.7, 5.19, 0.19, 0.19, 15, 2, 0.55, 0.42)
A(t2_dff, Via2, -10.045, -19.03, 0.19, 0.19, 16, 2, 0.55, 0.42)
A(t2_dff, Via2, 1.425, -19.03, 0.19, 0.19, 16, 2, 0.55, 0.42)
A(t2_dff, Via2, -0.59, -15.495, 0.19, 0.19, 1, 3, 0, 1.495)
A(t2_dff, Via2, -0.59, -5.435, 0.19, 0.19, 1, 3, 0, 1.495)
A(t2_dff, Via2, -10.045, 5.19, 0.19, 0.19, 16, 2, 0.55, 0.42)
A(t2_dff, Via2, 1.425, 5.19, 0.19, 0.19, 16, 2, 0.55, 0.42)
R(t2_dff, Via2, [(-5.115,-15.495,-4.925,-15.305), (-6.215,-8.97,-6.025,-8.78), (-0.59,-8.97,-0.4,-8.78), (6.11,-8.97,6.3,-8.78), (9.315,-8.97,9.505,-8.78), (1.445,-8.155,1.635,-7.965), (6.11,-7.475,6.3,-7.285), (-10.255,-6.6,-10.065,-6.41), (-5.115,-5.435,-4.925,-5.245), (8.145,-4.195,8.335,-4.005), (-6.215,-3.94,-6.025,-3.75), (-10.255,-1.715,-10.065,-1.525), (1.445,0.835,1.635,1.025)])
A(t2_dff, Metal3, -11.96, -11.89, 1.5, 1, 1, 3, 0, 4.885)
R(t2_dff, Metal3, [(-10.46,-19.23,-1.19,-17.82), (1.01,-19.23,10.28,-17.82), (-5.32,-15.7,-0.195,-15.1), (-6.42,-14.205,-5.82,-11.09), (-5.82,-14.205,-0.195,-13.605), (-0.795,-12.71,-0.195,-11.69), (-10.46,-11.69,-6.42,-11.09), (-0.795,-11.69,3.01,-11.09), (2.41,-11.09,3.01,-7.76), (10.28,-9.375,11.78,-8.375), (-6.42,-9.175,-0.195,-8.575), (3.01,-9.175,6.505,-8.575), (9.11,-9.175,10.28,-8.575), (1.24,-8.36,2.41,-7.76), (5.905,-7.68,6.505,-6.66), (-10.46,-6.805,-9.86,-6.205), (5.905,-6.66,9.71,-6.06), (9.11,-6.06,9.71,-4.4), (-5.32,-5.64,-0.195,-5.04), (10.28,-4.6,11.78,-3.6), (7.94,-4.4,10.28,-3.8), (-6.42,-4.145,-0.195,-3.545), (-0.795,-2.65,-0.195,-1.63), (-10.46,-1.92,-9.86,-1.32), (-0.795,-1.63,3.01,-1.03), (2.41,-1.03,3.01,0.63), (1.24,0.63,3.01,1.23), (-10.46,4.59,-1.19,6), (1.01,4.59,10.28,6)])
A(t2_dff, Via3, -9.77, -19.03, 0.19, 0.19, 15, 2, 0.55, 0.42)
A(t2_dff, Via3, 1.7, -19.03, 0.19, 0.19, 15, 2, 0.55, 0.42)
A(t2_dff, Via3, -9.77, 5.19, 0.19, 0.19, 15, 2, 0.55, 0.42)
A(t2_dff, Via3, 1.7, 5.19, 0.19, 0.19, 15, 2, 0.55, 0.42)
R(t2_dff, Via3, [(-11.81,-11.74,-11.62,-11.55), (-11.3,-11.74,-11.11,-11.55), (-11.81,-11.23,-11.62,-11.04), (-11.3,-11.23,-11.11,-11.04), (10.93,-9.225,11.12,-9.035), (11.44,-9.225,11.63,-9.035), (10.93,-8.715,11.12,-8.525), (11.44,-8.715,11.63,-8.525), (-11.81,-6.855,-11.62,-6.665), (-11.3,-6.855,-11.11,-6.665), (-11.81,-6.345,-11.62,-6.155), (-11.3,-6.345,-11.11,-6.155), (10.93,-4.45,11.12,-4.26), (11.44,-4.45,11.63,-4.26), (10.93,-3.94,11.12,-3.75), (11.44,-3.94,11.63,-3.75), (-11.81,-1.97,-11.62,-1.78), (-11.3,-1.97,-11.11,-1.78), (-11.81,-1.46,-11.62,-1.27), (-11.3,-1.46,-11.11,-1.27)])
A(t2_dff, Metal4, -11.96, -12.39, 1, 2, 1, 3, 0, 4.885)
R(t2_dff, Metal4, [(-10.46,-19.23,-1.19,-17.82), (1.01,-19.23,10.28,-17.82), (10.78,-9.875,11.78,-7.875), (10.78,-5.1,11.78,-3.1), (-10.46,4.59,-1.19,6), (1.01,4.59,10.28,6)])
A(t2_dff, Metal4_pin, -11.96, -12.39, 1, 2, 1, 3, 0, 4.885)
R(t2_dff, Metal4_pin, [(-10.46,-19.23,-9.05,-17.82), (8.87,-19.23,10.28,-17.82), (10.78,-9.875,11.78,-7.875), (10.78,-5.1,11.78,-3.1), (-10.46,4.59,-9.05,6), (8.87,4.59,10.28,6)])
t2_dff.add(gdstk.Reference(t2_nand2, (-0.3,-3.85), rotation=3*pi/2, x_reflection=True))
t2_dff.add(gdstk.Reference(t2_nand3, (-0.3,-13.91), rotation=3*pi/2, x_reflection=True))
t2_dff.add(gdstk.Reference(t2_nand3, (-0.3,-18.94), rotation=3*pi/2, x_reflection=True))
t2_dff.add(gdstk.Reference(t2_nand3, (6.4,-13.91), rotation=3*pi/2, x_reflection=True))
t2_dff.add(gdstk.Reference(t2_nand2, (6.4,-8.88), rotation=3*pi/2, x_reflection=True))
t2_dff.add(gdstk.Reference(t2_nand3, (-0.3,-8.88), rotation=3*pi/2, x_reflection=True))
t2_dff.add(gdstk.Reference(t2_inverter, (-7.865,-5.685)))
t2_dff.add(gdstk.Label('CLK', (-11.46,-6.505), layer=50, texttype=2))
t2_dff.add(gdstk.Label('RST', (-11.46,-1.62), layer=50, texttype=2))
t2_dff.add(gdstk.Label('D', (-11.46,-11.39), layer=50, texttype=2))
t2_dff.add(gdstk.Label('QN', (11.28,-8.875), layer=50, texttype=2))
t2_dff.add(gdstk.Label('Q', (11.28,-4.1), layer=50, texttype=2))
t2_dff.add(gdstk.Label('VDD', (-9.755,-18.525), layer=50, texttype=2))
t2_dff.add(gdstk.Label('VSS', (9.575,5.295), layer=50, texttype=2))
t2_dff.add(gdstk.Label('VSS', (9.575,-18.525), layer=50, texttype=2))
t2_dff.add(gdstk.Label('VDD', (-9.755,5.295), layer=50, texttype=2))

t2_and2 = lib.new_cell('t2_and2')
R(t2_and2, Metal1, [(-4.66,-2.38,1.98,-0.88), (4.09,-2.38,10.73,-1.79), (8.63,-1.79,10.73,0.62), (-4.66,-0.88,7.48,0.02), (-4.66,0.02,-1.41,4.1), (-1.41,0.02,0.69,0.62), (5.38,0.02,7.48,0.62), (-1.41,3.5,0.69,4.1), (1.84,3.5,3.94,4.1), (8.63,3.5,10.73,4.1), (-4.66,4.1,0.69,5.91), (1.84,4.1,10.73,5), (4.09,5,10.73,6.5), (-4.66,5.91,1.98,6.5)])
R(t2_and2, Metal2, [(-4.66,-2.38,1.98,-1.79), (4.09,-2.38,10.73,-1.79), (8.82,-1.79,10.73,0.62), (-2.43,-0.4,-1.83,1.36), (-1.83,-0.4,1.11,0.2), (1.11,-0.4,1.71,1.02), (4.36,-0.4,4.96,4.52), (4.96,-0.4,7.9,0.2), (7.9,-0.4,8.5,1.02), (-5.48,0.76,-2.43,1.36), (3.745,1.63,4.36,2.49), (10.535,1.76,11.55,2.36), (-5.48,2.76,-2.43,3.36), (-2.43,2.76,-1.83,4.52), (1.11,3.1,1.71,4.52), (7.9,3.1,8.5,4.52), (8.82,3.5,10.73,5.91), (-1.83,3.92,1.11,4.52), (4.96,3.92,7.9,4.52), (-4.66,5.91,1.98,6.5), (4.09,5.91,10.73,6.5)])
A(t2_and2, Via1, -4.46, -2.18, 0.19, 0.19, 12, 2, 0.55, 8.29)
A(t2_and2, Via1, 4.29, -2.18, 0.19, 0.19, 12, 2, 0.55, 8.29)
A(t2_and2, Via2, -4.185, -2.18, 0.19, 0.19, 11, 2, 0.55, 8.29)
A(t2_and2, Via2, 4.565, -2.18, 0.19, 0.19, 11, 2, 0.55, 8.29)
R(t2_and2, Via2, [(-5.275,0.965,-5.085,1.155), (11.155,1.965,11.345,2.155), (-5.275,2.965,-5.085,3.155)])
R(t2_and2, Metal3, [(-4.66,-2.38,1.98,-1.39), (4.09,-2.38,10.73,-1.39), (-5.48,0.56,-4.88,1.56), (10.95,1.56,11.55,2.56), (-5.48,2.56,-4.88,3.56), (-4.66,5.51,1.98,6.5), (4.09,5.51,10.73,6.5)])
R(t2_and2, Metal3_pin, [(-4.66,-2.38,-3.66,-1.39), (9.73,-2.38,10.73,-1.39), (-5.48,0.76,-4.88,1.36), (10.95,1.76,11.55,2.36), (-5.48,2.76,-4.88,3.36), (-4.66,5.51,-3.66,6.5), (9.73,5.51,10.73,6.5)])
t2_and2.add(gdstk.Reference(t2_nand2, (1.605,-2.72), rotation=3*pi/2, x_reflection=True))
t2_and2.add(gdstk.Reference(t2_nand2, (8.395,-2.72), rotation=3*pi/2, x_reflection=True))
t2_and2.add(gdstk.Label('inA', (-5.18,3.06), layer=30, texttype=2))
t2_and2.add(gdstk.Label('inA', (-5.18,1.06), layer=30, texttype=2))
t2_and2.add(gdstk.Label('out', (11.25,2.06), layer=30, texttype=2))
t2_and2.add(gdstk.Label('VSS', (10.23,6.005), layer=30, texttype=2))
t2_and2.add(gdstk.Label('VSS', (10.23,-1.885), layer=30, texttype=2))
t2_and2.add(gdstk.Label('VDD', (-4.16,6.005), layer=30, texttype=2))
t2_and2.add(gdstk.Label('VDD', (-4.16,-1.885), layer=30, texttype=2))

t2_ha = lib.new_cell('t2_ha')
R(t2_ha, Metal2, [(-12.81,6.43,-6.17,10.78), (-6.17,6.43,14.67,7.43), (14.67,6.43,22.97,7.75), (-4.06,7.75,2.58,10.78), (2.58,7.75,5.22,8.34), (-12.81,19.66,-6.17,24.01), (-4.06,19.66,2.58,22.69), (2.58,22.1,5.22,22.69), (14.67,22.69,22.97,24.01), (-6.17,23.01,14.67,24.01)])
R(t2_ha, Metal3, [(3.4,5.43,4.4,6.93), (-14.13,6.43,1.46,7.43), (8.7,6.43,24.29,7.43), (3.4,6.93,4.4,14.72), (-4.06,7.43,1.46,10.78), (14.67,7.43,22.97,7.75), (-15.13,14.72,-13.63,15.72), (23.79,14.72,25.29,15.72), (3.4,15.72,4.4,23.51), (-4.06,19.66,1.46,23.01), (14.67,22.69,22.97,23.01), (-14.13,23.01,1.46,24.01), (8.7,23.01,24.29,24.01), (3.4,23.51,4.4,25.01)])
A(t2_ha, Via3, -13.68, 6.625, 0.19, 0.19, 30, 2, 0.5, 0.42)
A(t2_ha, Via3, 9.15, 6.625, 0.19, 0.19, 30, 2, 0.5, 0.42)
A(t2_ha, Via3, -13.68, 23.205, 0.19, 0.19, 30, 2, 0.5, 0.42)
A(t2_ha, Via3, 9.15, 23.205, 0.19, 0.19, 30, 2, 0.5, 0.42)
R(t2_ha, Via3, [(3.55,5.58,3.74,5.77), (4.06,5.58,4.25,5.77), (3.55,6.09,3.74,6.28), (4.06,6.09,4.25,6.28), (-14.98,14.87,-14.79,15.06), (-14.47,14.87,-14.28,15.06), (24.44,14.87,24.63,15.06), (24.95,14.87,25.14,15.06), (-14.98,15.38,-14.79,15.57), (-14.47,15.38,-14.28,15.57), (24.44,15.38,24.63,15.57), (24.95,15.38,25.14,15.57), (3.55,24.16,3.74,24.35), (4.06,24.16,4.25,24.35), (3.55,24.67,3.74,24.86), (4.06,24.67,4.25,24.86)])
R(t2_ha, Metal4, [(2.9,5.43,4.9,6.43), (-14.13,6.43,1.46,8.43), (8.7,6.43,24.29,8.43), (-15.13,14.22,-14.13,16.22), (24.29,14.22,25.29,16.22), (-14.13,22.01,1.46,24.01), (8.7,22.01,24.29,24.01), (2.9,24.01,4.9,25.01)])
R(t2_ha, Metal4_pin, [(2.9,5.43,4.9,6.43), (-14.13,6.43,-12.13,8.43), (22.29,6.43,24.29,8.43), (-15.13,14.22,-14.13,16.22), (24.29,14.22,25.29,16.22), (-14.13,22.01,-12.13,24.01), (22.29,22.01,24.29,24.01), (2.9,24.01,4.9,25.01)])
t2_ha.add(gdstk.Reference(t2_and2, (-2.08,13.16), rotation=pi, x_reflection=True))
t2_ha.add(gdstk.Reference(t2_xor2, (10.99,17.07)))
t2_ha.add(gdstk.Label('sum', (24.79,15.22), layer=50, texttype=2))
t2_ha.add(gdstk.Label('cout', (-14.63,15.22), layer=50, texttype=2))
t2_ha.add(gdstk.Label('inA', (3.9,24.51), layer=50, texttype=2))
t2_ha.add(gdstk.Label('inB', (3.9,5.93), layer=50, texttype=2))
t2_ha.add(gdstk.Label('VDD', (-13.13,7.43), layer=50, texttype=2))
t2_ha.add(gdstk.Label('VDD', (-13.13,23.01), layer=50, texttype=2))
t2_ha.add(gdstk.Label('VSS', (23.29,23.01), layer=50, texttype=2))
t2_ha.add(gdstk.Label('VSS', (23.29,7.43), layer=50, texttype=2))

t2_divider_cell = lib.new_cell('t2_divider_cell')
R(t2_divider_cell, Metal3, [(-27.225,-6.705,16.145,-3.9), (18.135,-6.705,61.505,-5.285), (53.205,-5.285,61.505,4.69), (-27.225,-3.9,52.055,-1.9), (-27.225,-1.9,-11.635,0.1), (16.695,-1.9,25.965,1.05), (43.755,-1.9,52.055,4.69), (41.935,7.64,42.935,8.64), (62.325,11.66,63.325,12.66), (41.935,15.68,42.935,16.68), (-27.225,17.68,-11.635,30.665), (-4.395,17.68,11.195,27.28), (53.205,19.63,61.505,27.28), (28.165,26.28,37.435,27.28), (-4.395,27.28,61.505,29.28), (18.135,29.28,61.505,30.665), (-27.225,30.665,16.145,32.085), (18.135,30.665,61.505,32.085)])
A(t2_divider_cell, Via3, -26.535, -6.505, 0.19, 0.19, 77, 2, 0.55, 0.42)
A(t2_divider_cell, Via3, 18.825, -6.505, 0.19, 0.19, 77, 2, 0.55, 0.42)
A(t2_divider_cell, Via3, -26.535, -5.675, 0.19, 0.19, 77, 2, 0.55, 36.54)
A(t2_divider_cell, Via3, 18.825, -5.675, 0.19, 0.19, 77, 2, 0.55, 36.54)
A(t2_divider_cell, Via3, -26.535, 31.275, 0.19, 0.19, 77, 2, 0.55, 0.42)
A(t2_divider_cell, Via3, 18.825, 31.275, 0.19, 0.19, 77, 2, 0.55, 0.42)
R(t2_divider_cell, Via3, [(42.085,7.79,42.275,7.98), (42.595,7.79,42.785,7.98), (42.085,8.3,42.275,8.49), (42.595,8.3,42.785,8.49), (62.475,11.81,62.665,12), (62.985,11.81,63.175,12), (62.475,12.32,62.665,12.51), (62.985,12.32,63.175,12.51), (42.085,15.83,42.275,16.02), (42.595,15.83,42.785,16.02), (42.085,16.34,42.275,16.53), (42.595,16.34,42.785,16.53)])
R(t2_divider_cell, Metal4, [(-27.225,-6.705,16.145,-5.285), (18.135,-6.705,61.505,-5.285), (-35.255,-4.285,-10.195,-2.285), (-10.195,-4.285,-8.195,-0.9), (-35.255,3.615,17.82,5.615), (17.82,3.615,19.82,17.66), (41.935,7.14,44.935,9.14), (44.935,7.14,46.935,29.665), (-35.255,7.89,-28.225,9.89), (12.195,7.89,15.195,9.89), (-35.255,9.89,-33.255,13.515), (62.325,11.16,69.535,13.16), (-31.225,12.775,-29.225,19.415), (-29.225,12.775,15.195,14.775), (38.935,15.18,42.935,17.18), (37.935,17.18,39.935,23.16), (16.195,17.66,19.82,19.66), (-10.195,18.68,-8.195,23.16), (-35.255,19.415,-29.225,21.415), (-8.195,21.16,37.935,23.16), (-35.255,27.665,44.935,29.665), (-27.225,30.665,16.145,32.085), (18.135,30.665,61.505,32.085)])
R(t2_divider_cell, Metal4_pin, [(-27.225,-6.705,-25.815,-5.285), (60.095,-6.705,61.505,-5.285), (-27.225,30.665,-25.815,32.085), (60.095,30.665,61.505,32.085)])
A(t2_divider_cell, Via4, -34.9, -3.93, 0.19, 0.19, 3, 3, 0.55, 0.55)
A(t2_divider_cell, Via4, -34.9, 3.97, 0.19, 0.19, 3, 3, 0.55, 0.55)
A(t2_divider_cell, Via4, 67.89, 11.515, 0.19, 0.19, 3, 3, 0.55, 0.55)
A(t2_divider_cell, Via4, -34.9, 11.87, 0.19, 0.19, 3, 3, 0.55, 0.55)
A(t2_divider_cell, Via4, -34.9, 19.77, 0.19, 0.19, 3, 3, 0.55, 0.55)
A(t2_divider_cell, Via4, -34.9, 28.02, 0.19, 0.19, 3, 3, 0.55, 0.55)
A(t2_divider_cell, Metal5, -35.255, -4.285, 2, 2, 1, 4, 0, 7.9)
R(t2_divider_cell, Metal5, [(67.535,11.16,69.535,13.16), (-35.255,27.665,-33.255,29.665)])
A(t2_divider_cell, Metal5_pin, -35.255, -4.285, 2, 2, 1, 4, 0, 7.9)
R(t2_divider_cell, Metal5_pin, [(67.535,11.16,69.535,13.16), (-35.255,27.665,-33.255,29.665)])
t2_divider_cell.add(gdstk.Reference(t2_xor2, (49.525,14.01)))
t2_divider_cell.add(gdstk.Reference(t2_dff, (27.155,20.28)))
t2_divider_cell.add(gdstk.Reference(t2_ha, (-13.095,-6.33)))
t2_divider_cell.add(gdstk.Label('VDD', (-26.52,-6), layer=50, texttype=2))
t2_divider_cell.add(gdstk.Label('VSS', (60.8,-6), layer=50, texttype=2))
t2_divider_cell.add(gdstk.Label('VDD', (-26.52,31.38), layer=50, texttype=2))
t2_divider_cell.add(gdstk.Label('VSS', (60.8,31.38), layer=50, texttype=2))
t2_divider_cell.add(gdstk.Label('lmt', (-34.255,28.665), layer=67, texttype=2))
t2_divider_cell.add(gdstk.Label('clk', (-34.255,20.415), layer=67, texttype=2))
t2_divider_cell.add(gdstk.Label('cout', (-34.255,12.515), layer=67, texttype=2))
t2_divider_cell.add(gdstk.Label('rst', (-34.255,4.615), layer=67, texttype=2))
t2_divider_cell.add(gdstk.Label('cin', (-34.255,-3.285), layer=67, texttype=2))
t2_divider_cell.add(gdstk.Label('neq', (68.535,12.16), layer=67, texttype=2))

lib.write_gds('t2_divider_cell.gds')
